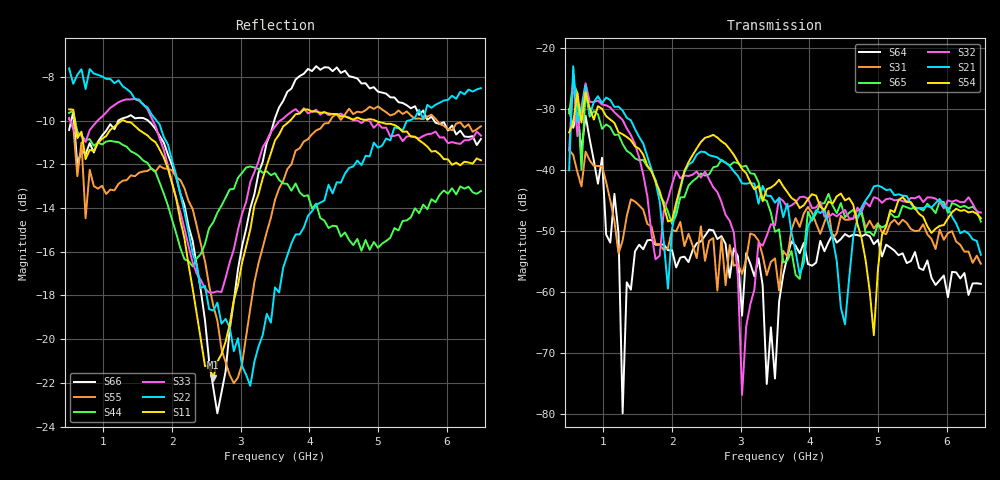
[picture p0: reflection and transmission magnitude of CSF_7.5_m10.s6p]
!Keysight Technologies,M9804A,MY58100912,A.14.10.03
!Date: Thursday, April 27, 2023 10:28:33
!Correction: S11(C  6-Port  )
!S12(C  6-Port  )
!S13(C  6-Port  )
!S14(C  6-Port  )
!S15(C  6-Port  )
!S16(C  6-Port  )
!S21(C  6-Port  )
!S22(C  6-Port  )
!S23(C  6-Port  )
!S24(C  6-Port  )
!S25(C  6-Port  )
!S26(C  6-Port  )
!S31(C  6-Port  )
!S32(C  6-Port  )
!S33(C  6-Port  )
!S34(C  6-Port  )
!S35(C  6-Port  )
!S36(C  6-Port  )
!S41(C  6-Port  )
!S42(C  6-Port  )
!S43(C  6-Port  )
!S44(C  6-Port  )
!S45(C  6-Port  )
!S46(C  6-Port  )
!S51(C  6-Port  )
!S52(C  6-Port  )
!S53(C  6-Port  )
!S54(C  6-Port  )
!S55(C  6-Port  )
!S56(C  6-Port  )
!S61(C  6-Port  )
!S62(C  6-Port  )
!S63(C  6-Port  )
!S64(C  6-Port  )
!S65(C  6-Port  )
!S66(C  6-Port  )
!S6P File: Measurement: :
# Hz S  RI  R 50
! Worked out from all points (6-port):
!   101 points, 500 MHz to 6.5 GHz, reference 50 ohm
!   strongest paths, dB at 500 MHz, 2 GHz, 3.5 GHz, 5 GHz, 6.5 GHz:
!     S54: -33.9, -48.2, -42.4, -56.3, -47.9
!     S21: -40.1, -49.7, -45.4, -42.6, -53.9
!     S32: -36.8, -42.4, -49.1, -44.7, -47.0
!     S65: -30.7, -48.9, -50.2, -49.0, -48.5
!     S31: -36.7, -49.8, -54.5, -48.7, -55.4
!     S64: -30.1, -53.2, -74.2, -51.5, -58.7
!   lowest |S11| = -21.8 dB at 2.6 GHz (marker M1), VSWR 1.18, Z = 42.7 + j1.99 ohm
!   |S11| at or under -10 dB: 582.8 MHz to 1.269 GHz (686.3 MHz wide, 74.1 % of centre); 1.298 GHz to 3.721 GHz (2.422 GHz wide, 96.5 % of centre); 4.961 GHz to end of sweep
